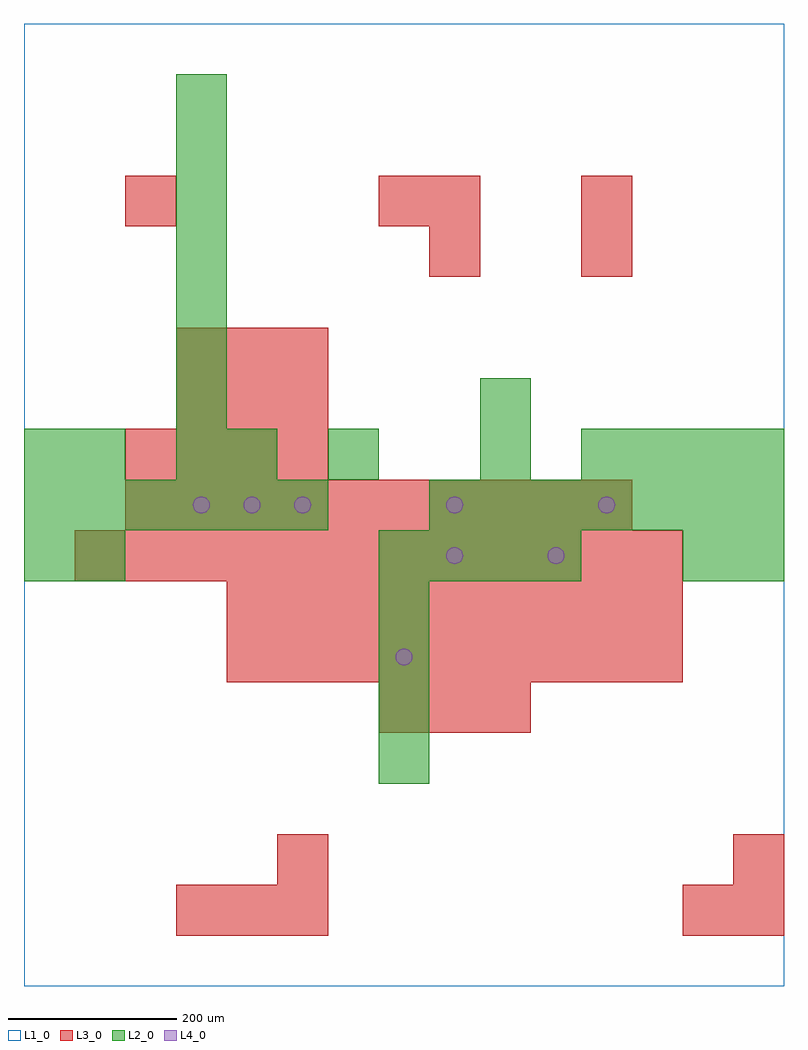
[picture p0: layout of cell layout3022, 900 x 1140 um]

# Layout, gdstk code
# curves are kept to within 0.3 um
import gdstk
lib = gdstk.Library(unit=1e-6, precision=1e-09)
def R(c, l, rs):  # rectangles x0, y0, x1, y1
    for r in rs: c.add(gdstk.rectangle(r[:2], r[2:], *l))
def A(c, l, x, y, w, h, nx, ny, dx, dy):  # array of equal rectangles
    R(c, l, [(x+i*dx, y+j*dy, x+i*dx+w, y+j*dy+h) for i in range(nx) for j in range(ny)])
def P(c, l, *ps):  # polygons
    for p in ps: c.add(gdstk.Polygon(p, *l))
L1_0 = (1, 0)
L2_0 = (2, 0)
L3_0 = (3, 0)
L4_0 = (4, 0)

layout3022 = lib.new_cell('layout3022')
R(layout3022, L1_0, [(0,0,900,1140)])
A(layout3022, L2_0, 420, 240, 60, 60, 1, 4, 0, 60)
A(layout3022, L2_0, 420, 480, 60, 60, 4, 1, 60, 0)
A(layout3022, L2_0, 0, 540, 60, 60, 6, 1, 60, 0)
A(layout3022, L2_0, 480, 540, 60, 60, 7, 1, 60, 0)
A(layout3022, L2_0, 180, 600, 60, 60, 1, 8, 0, 60)
A(layout3022, L2_0, 660, 600, 60, 60, 4, 1, 60, 0)
R(layout3022, L2_0, [(0,480,60,540), (60,480,120,540), (780,480,840,540), (840,480,900,540), (0,600,60,660), (60,600,120,660), (240,600,300,660), (360,600,420,660), (540,600,600,660), (540,660,600,720)])
A(layout3022, L3_0, 180, 60, 60, 60, 3, 2, 60, 600)
A(layout3022, L3_0, 420, 300, 60, 60, 3, 1, 60, 0)
A(layout3022, L3_0, 240, 360, 60, 60, 9, 2, 60, 60)
A(layout3022, L3_0, 60, 480, 60, 60, 12, 1, 60, 0)
A(layout3022, L3_0, 120, 540, 60, 60, 10, 1, 60, 0)
A(layout3022, L3_0, 120, 600, 60, 60, 4, 1, 60, 0)
A(layout3022, L3_0, 180, 720, 60, 60, 3, 1, 60, 0)
R(layout3022, L3_0, [(780,60,840,120), (840,60,900,120), (300,120,360,180), (840,120,900,180), (480,840,540,900), (660,840,720,900), (120,900,180,960), (420,900,480,960), (480,900,540,960), (660,900,720,960)])
P(layout3022, L4_0, [(220,570),(219.239,573.827),(217.071,577.071),(213.827,579.239),(210,580),(206.173,579.239),(202.929,577.071),(200.761,573.827),(200,570),(200.761,566.173),(202.929,562.929),(206.173,560.761),(210,560),(213.827,560.761),(217.071,562.929),(219.239,566.173)],
  [(280,570),(279.239,573.827),(277.071,577.071),(273.827,579.239),(270,580),(266.173,579.239),(262.929,577.071),(260.761,573.827),(260,570),(260.761,566.173),(262.929,562.929),(266.173,560.761),(270,560),(273.827,560.761),(277.071,562.929),(279.239,566.173)],
  [(340,570),(339.239,573.827),(337.071,577.071),(333.827,579.239),(330,580),(326.173,579.239),(322.929,577.071),(320.761,573.827),(320,570),(320.761,566.173),(322.929,562.929),(326.173,560.761),(330,560),(333.827,560.761),(337.071,562.929),(339.239,566.173)],
  [(460,390),(459.239,393.827),(457.071,397.071),(453.827,399.239),(450,400),(446.173,399.239),(442.929,397.071),(440.761,393.827),(440,390),(440.761,386.173),(442.929,382.929),(446.173,380.761),(450,380),(453.827,380.761),(457.071,382.929),(459.239,386.173)],
  [(520,510),(519.239,513.827),(517.071,517.071),(513.827,519.239),(510,520),(506.173,519.239),(502.929,517.071),(500.761,513.827),(500,510),(500.761,506.173),(502.929,502.929),(506.173,500.761),(510,500),(513.827,500.761),(517.071,502.929),(519.239,506.173)],
  [(520,570),(519.239,573.827),(517.071,577.071),(513.827,579.239),(510,580),(506.173,579.239),(502.929,577.071),(500.761,573.827),(500,570),(500.761,566.173),(502.929,562.929),(506.173,560.761),(510,560),(513.827,560.761),(517.071,562.929),(519.239,566.173)],
  [(640,510),(639.239,513.827),(637.071,517.071),(633.827,519.239),(630,520),(626.173,519.239),(622.929,517.071),(620.761,513.827),(620,510),(620.761,506.173),(622.929,502.929),(626.173,500.761),(630,500),(633.827,500.761),(637.071,502.929),(639.239,506.173)],
  [(700,570),(699.239,573.827),(697.071,577.071),(693.827,579.239),(690,580),(686.173,579.239),(682.929,577.071),(680.761,573.827),(680,570),(680.761,566.173),(682.929,562.929),(686.173,560.761),(690,560),(693.827,560.761),(697.071,562.929),(699.239,566.173)])

lib.write_gds('layout3022.gds')
